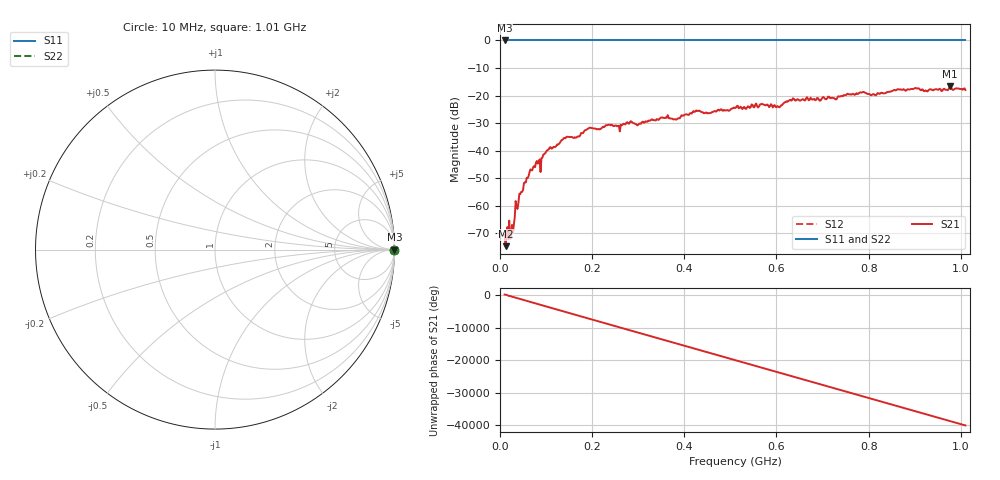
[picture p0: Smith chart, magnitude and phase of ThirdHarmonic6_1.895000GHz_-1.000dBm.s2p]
! 8/16/2025 10:52:52 PM
! C:\ANRITSUVNA\TEMP\TEMP.S2P
! CHANNEL.1
! TR.MEASUREMENT
! RAW.DATA
! RF.CORRECTION.OFF
! AVERAGING.OFF
! IF.BANDWIDTH: 5KHZ
! SWEEPTYPE:  FREQ.SWEEP(Linear)
! Reference Plane Port Info
! PORT:  PORT1  PORT2
! DISTANCE:  0  m  0  m
! TIME:  0  s  0  s
! PHASE.OFFSET:  0  deg.  0  deg.
! LOSS:  0  dB  0  dB
! REF.LOSS:  0  dB  0  dB
! REF.FREQ:  0  Hz  0  Hz
! Power Info
! POWER:  -20  dBm  -20  dBm
! EFF.POWER:  -20  dBm  -20  dBm
! SOURCE.ATTEN:  0  dB  0  dB
! TEST.ATTEN:  0  dB  0  dB
# GHZ S RI R 50.0
! FREQ.GHZ  S11RE  S11IM  S21RE  S21IM  S12RE  S12IM  S22RE  S22IM
!; PortSelection: Port_12
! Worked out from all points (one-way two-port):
!   501 points, 10 MHz to 1.01 GHz, reference 50 ohm
!   highest |S21| = -16.62 dB at 976 MHz (marker M1); lowest = -74.7 dB at 12 MHz (marker M2)
!   lowest |S11| = 0.0 dB at 10 MHz (marker M3)
!   |S11| at or under -10 dB: nowhere
!   |S22| runs from 0.0 to 0.0 dB; largest |S21 - S12| = 1.1
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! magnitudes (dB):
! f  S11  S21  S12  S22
! 10 MHz  0.0  -70.5  0.0  0.0
! 12 MHz  0.0  -74.7  0.0  0.0
! 26 MHz  0.0  -67.0  0.0  0.0
! 38 MHz  0.0  -61.2  0.0  0.0
! 56 MHz  0.0  -51.6  0.0  0.0
! 76 MHz  0.0  -46.0  0.0  0.0
! 86 MHz  0.0  -43.2  0.0  0.0
! 106 MHz  0.0  -39.4  0.0  0.0
! 136 MHz  0.0  -36.0  0.0  0.0
! 178 MHz  0.0  -33.6  0.0  0.0
! 194 MHz  0.0  -31.7  0.0  0.0
! 344 MHz  0.0  -28.9  0.0  0.0
! 380 MHz  0.0  -28.6  0.0  0.0
! 424 MHz  0.0  -25.7  0.0  0.0
! 454 MHz  0.0  -26.4  0.0  0.0
! 510 MHz  0.0  -24.5  0.0  0.0
! 604 MHz  0.0  -24.0  0.0  0.0
! 634 MHz  0.0  -21.6  0.0  0.0
! 678 MHz  0.0  -21.5  0.0  0.0
! 844 MHz  0.0  -18.7  0.0  0.0
! 976 MHz  0.0  -16.6  0.0  0.0
! 1.01 GHz  0.0  -18.0  0.0  0.0
